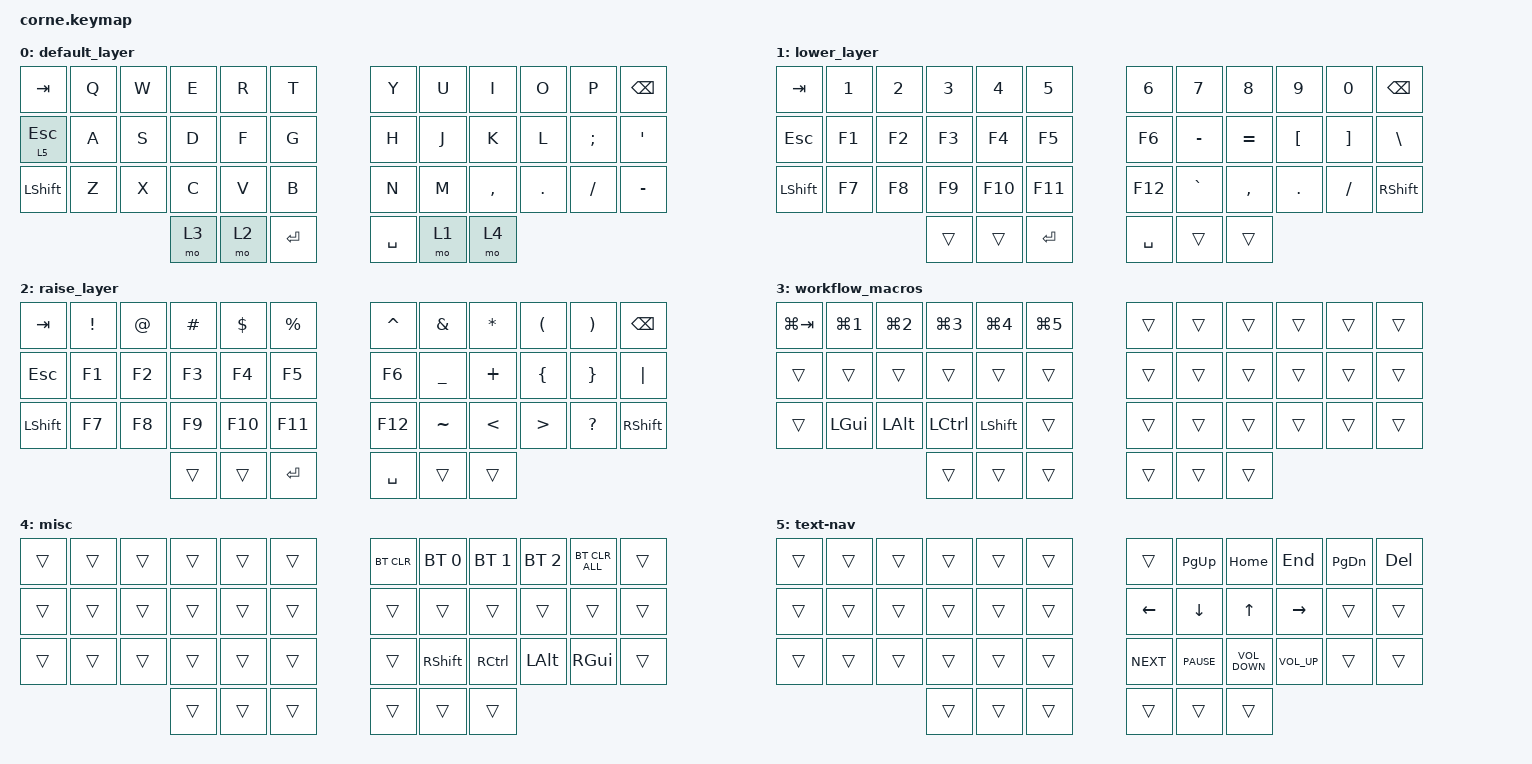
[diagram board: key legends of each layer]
/*
 * Copyright (c) 2020 The ZMK Contributors
 *
 * SPDX-License-Identifier: MIT
 */

#include <behaviors.dtsi>
#include <dt-bindings/zmk/bt.h>
#include <dt-bindings/zmk/keys.h>

/ {
    behaviors {
        hrmr: hrmr {
            compatible = "zmk,behavior-hold-tap";
            label = "HRMR";
            bindings = <&kp>, <&kp>;

            #binding-cells = <2>;
            tapping-term-ms = <175>;
            quick-tap-ms = <150>;
            hold-trigger-key-positions = <0 1 2 3 4 5 12 13 14 15 16 17 24 25 26 27 28 29 36 37 38 39 40 41>;
            hold-trigger-on-release;
            flavor = "balanced";
        };

        hrml: hrml {
            compatible = "zmk,behavior-hold-tap";
            label = "HRML";
            bindings = <&kp>, <&kp>;

            #binding-cells = <2>;
            tapping-term-ms = <175>;
            quick-tap-ms = <150>;
            hold-trigger-key-positions = <6 7 8 9 10 11 18 19 20 21 22 23 30 31 32 33 34 35 39 40 41 36 37 38>;
            flavor = "balanced";
        };
    };

    keymap {
        compatible = "zmk,keymap";

        default_layer {
            // -----------------------------------------------------------------------------------------
            // |  TAB |  Q  |  W  |  E  |  R  |  T  |   |  Y  |  U   |  I  |  O  |  P  | BKSP |
            // | CTRL |  A  |  S  |  D  |  F  |  G  |   |  H  |  J   |  K  |  L  |  ;  |  '   |
            // | SHFT |  Z  |  X  |  C  |  V  |  B  |   |  N  |  M   |  ,  |  .  |  /  | ESC  |
            //                    | GUI | LWR | SPC |   | ENT | RSE  | ALT |

            bindings = <
&kp TAB         &kp Q  &kp W  &kp E  &kp R  &kp T         &kp Y      &kp U  &kp I      &kp O    &kp P          &kp BSPC
&lt 5 ESCAPE    &kp A  &kp S  &kp D  &kp F  &kp G         &kp H      &kp J  &kp K      &kp L    &kp SEMICOLON  &kp SQT
&kp LEFT_SHIFT  &kp Z  &kp X  &kp C  &kp V  &kp B         &kp N      &kp M  &kp COMMA  &kp DOT  &kp FSLH       &kp MINUS
                              &mo 3  &mo 2  &kp RETURN    &kp SPACE  &mo 1  &mo 4
            >;
        };

        lower_layer {
            // -----------------------------------------------------------------------------------------
            // |  TAB |  1  |  2  |  3  |  4  |  5  |   |  6  |  7  |  8  |  9  |  0  | BKSP |
            // | BTCLR| BT1 | BT2 | BT3 | BT4 | BT5 |   | LFT | DWN |  UP | RGT |     |      |
            // | SHFT |     |     |     |     |     |   |     |     |     |     |     |      |
            //                    | GUI |     | SPC |   | ENT |     | ALT |

            bindings = <
&kp TAB         &kp N1  &kp N2  &kp N3  &kp N4   &kp N5        &kp N6     &kp N7     &kp N8     &kp N9      &kp N0     &kp BSPC
&kp ESCAPE      &kp F1  &kp F2  &kp F3  &kp F4   &kp F5        &kp F6     &kp MINUS  &kp EQUAL  &kp LBKT    &kp RBKT   &kp BSLH
&kp LEFT_SHIFT  &kp F7  &kp F8  &kp F9  &kp F10  &kp F11       &kp F12    &kp GRAVE  &kp COMMA  &kp PERIOD  &kp SLASH  &kp RIGHT_SHIFT
                                &trans  &trans   &kp RETURN    &kp SPACE  &trans     &trans
            >;
        };

        raise_layer {
            // -----------------------------------------------------------------------------------------
            // |  TAB |  !  |  @  |  #  |  $  |  %  |   |  ^  |  &  |  *  |  (  |  )  | BKSP |
            // | CTRL |     |     |     |     |     |   |  -  |  =  |  [  |  ]  |  \  |  `   |
            // | SHFT |     |     |     |     |     |   |  _  |  +  |  {  |  }  | "|" |  ~   |
            //                    | GUI |     | SPC |   | ENT |     | ALT |

            bindings = <
&kp TAB     &kp EXCL  &kp AT  &kp HASH  &kp DLLR  &kp PRCNT     &kp CARET  &kp AMPS        &kp STAR       &kp LPAR          &kp RPAR         &kp BSPC
&kp ESCAPE  &kp F1    &kp F2  &kp F3    &kp F4    &kp F5        &kp F6     &kp UNDERSCORE  &kp PLUS       &kp LEFT_BRACE    &kp RIGHT_BRACE  &kp PIPE
&kp LSHFT   &kp F7    &kp F8  &kp F9    &kp F10   &kp F11       &kp F12    &kp TILDE       &kp LESS_THAN  &kp GREATER_THAN  &kp QUESTION     &kp RIGHT_SHIFT
                              &trans    &trans    &kp RETURN    &kp SPACE  &trans          &trans
            >;
        };

        workflow_macros {
            bindings = <
&kp LG(TAB)  &kp LG(NUMBER_1)  &kp LG(NUMBER_2)  &kp LG(NUMBER_3)  &kp LG(NUMBER_4)  &kp LG(NUMBER_5)    &trans  &trans  &trans  &trans  &trans  &trans
&trans       &trans            &trans            &trans            &trans            &trans              &trans  &trans  &trans  &trans  &trans  &trans
&trans       &kp LGUI          &kp LALT          &kp LCTRL         &kp LSHFT         &trans              &trans  &trans  &trans  &trans  &trans  &trans
                                                 &trans            &trans            &trans              &trans  &trans  &trans
            >;
        };

        misc {
            bindings = <
&trans  &trans  &trans  &trans  &trans  &trans    &bt BT_CLR  &bt BT_SEL 0  &bt BT_SEL 1  &bt BT_SEL 2  &bt BT_CLR_ALL  &trans
&trans  &trans  &trans  &trans  &trans  &trans    &trans      &trans        &trans        &trans        &trans          &trans
&trans  &trans  &trans  &trans  &trans  &trans    &trans      &kp RSHFT     &kp RCTRL     &kp LALT      &kp RGUI        &trans
                        &trans  &trans  &trans    &trans      &trans        &trans
            >;
        };

        text-nav {
            bindings = <
&trans  &trans  &trans  &trans  &trans  &trans    &trans          &kp PAGE_UP     &kp HOME           &kp END          &kp PAGE_DOWN  &kp DELETE
&trans  &trans  &trans  &trans  &trans  &trans    &kp LEFT_ARROW  &kp DOWN_ARROW  &kp UP_ARROW       &kp RIGHT_ARROW  &trans         &trans
&trans  &trans  &trans  &trans  &trans  &trans    &kp C_NEXT      &kp C_PAUSE     &kp C_VOLUME_DOWN  &kp C_VOLUME_UP  &trans         &trans
                        &trans  &trans  &trans    &trans          &trans          &trans
            >;
        };
    };
};
